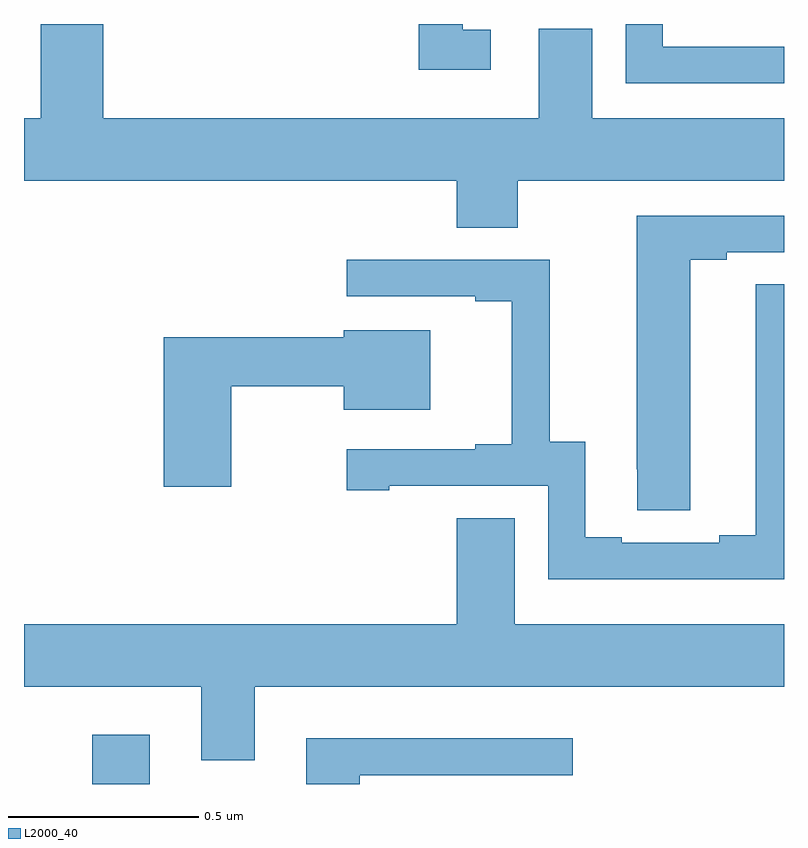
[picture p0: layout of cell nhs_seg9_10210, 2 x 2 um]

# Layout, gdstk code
import gdstk
lib = gdstk.Library(unit=1e-6, precision=1e-09)
def R(c, l, rs):  # rectangles x0, y0, x1, y1
    for r in rs: c.add(gdstk.rectangle(r[:2], r[2:], *l))
def P(c, l, *ps):  # polygons
    for p in ps: c.add(gdstk.Polygon(p, *l))
L2000_40 = (2000, 40)

nhs_seg9_10210 = lib.new_cell('nhs_seg9_10210')
R(nhs_seg9_10210, L2000_40, [(240.179,1193.5,240.331,1193.629)])
P(nhs_seg9_10210, L2000_40, [(241.299,1195.088),(242,1195.088),(242,1195.252),(241.495,1195.252),(241.495,1195.488),(241.355,1195.488),(241.355,1195.252),(240.208,1195.252),(240.208,1195.5),(240.044,1195.5),(240.044,1195.252),(240,1195.252),(240,1195.088),(241.139,1195.088),(241.139,1194.964),(241.299,1194.964)],
  [(241.228,1195.485),(241.155,1195.485),(241.155,1195.5),(241.039,1195.5),(241.039,1195.38),(241.228,1195.38)],
  [(242,1195.44),(241.681,1195.44),(241.681,1195.5),(241.584,1195.5),(241.584,1195.344),(242,1195.344)],
  [(241.753,1194.88),(241.849,1194.88),(241.849,1194.9),(242,1194.9),(242,1194.996),(241.613,1194.996),(241.613,1194.328),(241.614,1194.328),(241.614,1194.22),(241.753,1194.22)],
  [(242,1194.815),(241.925,1194.815),(241.925,1194.155),(241.829,1194.155),(241.829,1194.135),(241.573,1194.135),(241.573,1194.15),(241.477,1194.15),(241.477,1194.401),(241.383,1194.401),(241.383,1194.879),(240.849,1194.879),(240.849,1194.783),(241.187,1194.783),(241.187,1194.771),(241.283,1194.771),(241.283,1194.394),(241.187,1194.394),(241.187,1194.381),(240.849,1194.381),(240.849,1194.273),(240.961,1194.273),(240.961,1194.285),(241.38,1194.285),(241.38,1194.039),(242,1194.039)],
  [(240.546,1194.547),(240.842,1194.547),(240.842,1194.485),(241.069,1194.485),(241.069,1194.694),(240.842,1194.694),(240.842,1194.676),(240.368,1194.676),(240.368,1194.282),(240.546,1194.282)],
  [(240.607,1193.756),(242,1193.756),(242,1193.92),(241.291,1193.92),(241.291,1194.2),(241.139,1194.2),(241.139,1193.92),(240,1193.92),(240,1193.756),(240.467,1193.756),(240.467,1193.562),(240.607,1193.562)],
  [(240.883,1193.523),(241.444,1193.523),(241.444,1193.62),(240.743,1193.62),(240.743,1193.5),(240.883,1193.5)])

lib.write_gds('nhs_seg9_10210.gds')
